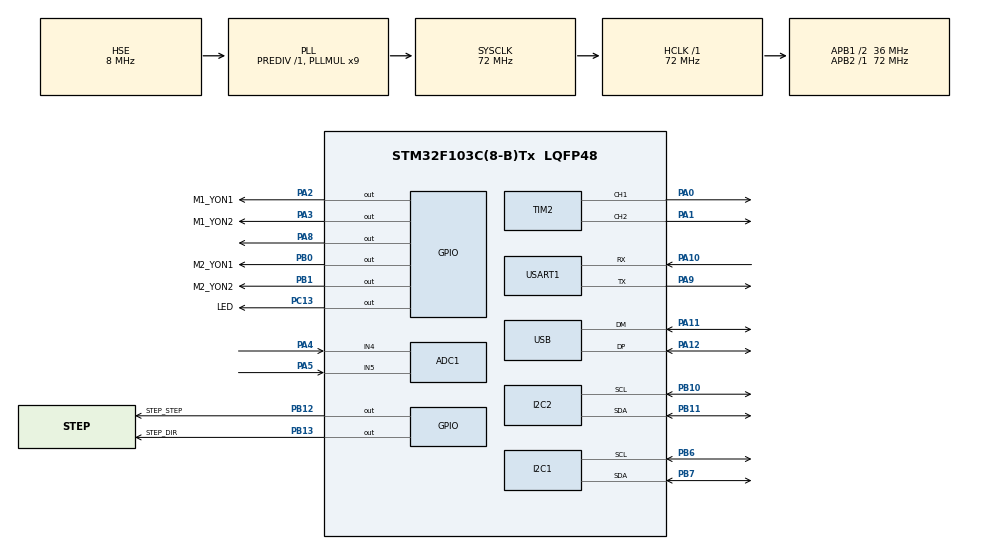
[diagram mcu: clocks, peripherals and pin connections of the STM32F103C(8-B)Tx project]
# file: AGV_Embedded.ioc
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ADC1.Channel-5\#ChannelRegularConversion=ADC_CHANNEL_4
ADC1.NbrOfConversionFlag=1
ADC1.Rank-5\#ChannelRegularConversion=1
ADC1.SamplingTime-5\#ChannelRegularConversion=ADC_SAMPLETIME_1CYCLE_5
ADC1.master=1
Mcu.Family=STM32F1
Mcu.Name=STM32F103C(8-B)Tx
Mcu.Package=LQFP48
NVIC.PriorityGroup=NVIC_PRIORITYGROUP_4
NVIC.USB_LP_CAN1_RX0_IRQn=true\:0\:0\:false\:false\:true\:false\:true\:true
PA0-WKUP.Signal=S_TIM2_CH1_ETR
PA1.Signal=S_TIM2_CH2
PA10.Mode=Asynchronous
PA10.Signal=USART1_RX
PA11.Mode=Device
PA11.Signal=USB_DM
PA12.Mode=Device
PA12.Signal=USB_DP
PA13.Mode=Serial_Wire
PA13.Signal=SYS_JTMS-SWDIO
PA14.Mode=Serial_Wire
PA14.Signal=SYS_JTCK-SWCLK
PA2.GPIO_Label=M1_YON1
PA2.Signal=GPIO_Output
PA3.GPIO_Label=M1_YON2
PA3.Signal=GPIO_Output
PA4.Signal=ADCx_IN4
PA5.Signal=ADCx_IN5
PA8.Signal=GPIO_Output
PA9.Mode=Asynchronous
PA9.Signal=USART1_TX
PB0.GPIO_Label=M2_YON1
PB0.Signal=GPIO_Output
PB1.GPIO_Label=M2_YON2
PB1.Signal=GPIO_Output
PB10.Mode=I2C
PB10.Signal=I2C2_SCL
PB11.Mode=I2C
PB11.Signal=I2C2_SDA
PB12.GPIO_Label=STEP_STEP
PB12.Signal=GPIO_Output
PB13.GPIO_Label=STEP_DIR
PB13.Signal=GPIO_Output
PB6.Mode=I2C
PB6.Signal=I2C1_SCL
PB7.Mode=I2C
PB7.Signal=I2C1_SDA
PC13-TAMPER-RTC.GPIO_Label=LED
PC13-TAMPER-RTC.Signal=GPIO_Output
PD0-OSC_IN.Mode=HSE-External-Oscillator
PD0-OSC_IN.Signal=RCC_OSC_IN
PD1-OSC_OUT.Mode=HSE-External-Oscillator
PD1-OSC_OUT.Signal=RCC_OSC_OUT
ProjectManager.HeapSize=0x200
ProjectManager.StackSize=0x400
ProjectManager.TargetToolchain=STM32CubeIDE
RCC.ADCPresc=RCC_ADCPCLK2_DIV6
RCC.AHBFreq_Value=72000000
RCC.APB1CLKDivider=RCC_HCLK_DIV2
RCC.APB1Freq_Value=36000000
RCC.APB1TimFreq_Value=72000000
RCC.APB2Freq_Value=72000000
RCC.APB2TimFreq_Value=72000000
RCC.HCLKFreq_Value=72000000
RCC.PLLMUL=RCC_PLL_MUL9
RCC.PLLSourceVirtual=RCC_PLLSOURCE_HSE
RCC.SYSCLKFreq_VALUE=72000000
RCC.SYSCLKSource=RCC_SYSCLKSOURCE_PLLCLK
RCC.USBFreq_Value=48000000
RCC.USBPrescaler=RCC_USBCLKSOURCE_PLL_DIV1_5
SH.ADCx_IN4.0=ADC1_IN4,IN4
SH.ADCx_IN5.0=ADC1_IN5,IN5
SH.S_TIM2_CH1_ETR.0=TIM2_CH1,PWM Generation1 CH1
SH.S_TIM2_CH2.0=TIM2_CH2,PWM Generation2 CH2
TIM2.Channel-PWM\ Generation1\ CH1=TIM_CHANNEL_1
TIM2.Channel-PWM\ Generation2\ CH2=TIM_CHANNEL_2
USART1.VirtualMode=VM_ASYNC
USB_DEVICE.CLASS_NAME_FS=CDC
USB_DEVICE.VirtualMode=Cdc
USB_DEVICE.VirtualModeFS=Cdc_FS
VP_TIM2_VS_ClockSourceINT.Mode=Internal
VP_USB_DEVICE_VS_USB_DEVICE_CDC_FS.Mode=CDC_FS
board=custom

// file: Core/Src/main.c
/* USER CODE BEGIN Header */
/**
  ******************************************************************************
  * @file           : main.c
  * @brief          : Main program body
  ******************************************************************************
  * @attention
  *
  * Copyright (c) 2026 STMicroelectronics.
  * All rights reserved.
  *
  * This software is licensed under terms that can be found in the LICENSE file
  * in the root directory of this software component.
  * If no LICENSE file comes with this software, it is provided AS-IS.
  *
  ******************************************************************************
  */
/* USER CODE END Header */
#include "main.h"
#include "adc.h"
#include "i2c.h"
#include "tim.h"
#include "usart.h"
#include "usb_device.h"
#include "gpio.h"

/* USER CODE BEGIN Includes */
/* Private includes ----------------------------------------------------------*/
/* USER CODE BEGIN Includes */
#include <stdio.h>
#include <string.h>
#include "agv_motor.h"
#include "agv_sensor.h"
#include "agv_telemetry.h"
/* USER CODE END Includes */

void SystemClock_Config(void);
/* USER CODE BEGIN PFP */
void RGB_Sensor_Init(void);
void RGB_Sensor_Read(uint16_t *r, uint16_t *g, uint16_t *b, uint16_t *c);
/* USER CODE END PFP */

/* USER CODE BEGIN 0 */
#include "usbd_cdc_if.h"

// USB CDC buffer'larını kullan (usbd_cdc_if.c'den)
extern uint8_t UserRxBufferFS[APP_RX_DATA_SIZE];
extern uint8_t UserTxBufferFS[APP_TX_DATA_SIZE];

uint32_t last_blink_time = 0;
uint32_t last_telemetry_time = 0;
/* USER CODE END 0 */

/* USER CODE END 0 */

int main(void)
{

  /* MCU Configuration--------------------------------------------------------*/

  /* Reset of all peripherals, Initializes the Flash interface and the Systick. */
  HAL_Init();

  /* Configure the system clock */
  SystemClock_Config();

  /* Initialize all configured peripherals */
  MX_GPIO_Init();
  MX_I2C1_Init();
  MX_TIM2_Init();
  MX_USART1_UART_Init();
  MX_ADC1_Init();
  MX_I2C2_Init();
  MX_USB_DEVICE_Init();
  /* USER CODE BEGIN 2 */
  agv_packet.header[0] = 0xAA;
  agv_packet.header[1] = 0x55;
  agv_packet.msg_id = 0x02;
  HAL_TIM_PWM_Start(&htim2, TIM_CHANNEL_1);
  HAL_TIM_PWM_Start(&htim2, TIM_CHANNEL_2);

  RGB_Sensor_Init();
  HAL_Delay(200);

  /* USER CODE END 2 */

  /* Infinite loop */
  /* USER CODE BEGIN WHILE */
  while (1)
  {
      // --- 1. RUN LED (PC13) ---
      if (HAL_GetTick() - last_blink_time >= 500) {
          HAL_GPIO_TogglePin(GPIOC, GPIO_PIN_13);
          last_blink_time = HAL_GetTick();
      }

      // --- 2. USB CDC KOMUT DİNLEYİCİSİ ---
      // UserRxBufferFS'deki komutları kontrol et

      // Heartbeat Sorgusu (FF 01)
      if (UserRxBufferFS[0] == 0xFF && UserRxBufferFS[1] == 0x01) {
          uint8_t hb_response[4] = {0xAA, 0x55, 0x01, 0x01};
          CDC_Transmit_FS(hb_response, 4);
          memset(UserRxBufferFS, 0, 2);  // Buffer'ı temizle
      }
      // Motor Komutları Paketi (AA 55)
      else if (UserRxBufferFS[0] == 0xAA && UserRxBufferFS[1] == 0x55) {
          // Yükü oku: [AA 55 ID L_Byte H_Byte Checksum]
          uint8_t msg_id = UserRxBufferFS[2];
          int16_t value = (UserRxBufferFS[4] << 8) | UserRxBufferFS[3];

          if (msg_id == 0x03) {  // DC Motor Hız
              agv_packet.dc_speed = value;
              if(value > 0) AGV_Forward(value);
              else if(value < 0) AGV_Backward(-value);
              else AGV_Stop();
          }
          else if (msg_id == 0x05) {  // DC Motor Tank Dönüşü
              if(value > 0) AGV_TurnRight(value);
              else if(value < 0) AGV_TurnLeft(-value);
              else AGV_Stop();
          }
          else if (msg_id == 0x04) {  // Step Motor
              StepMotor_Drive(value);
          }

          memset(UserRxBufferFS, 0, 6);  // Buffer'ı temizle
      }

      // --- 3. SENSÖR OKUMALARI ---

      // A. ADC Okumaları (Çizgi İzleyen Sensörler)
      ADC_ChannelConfTypeDef sConfig = {0};

      // IR Sol
      sConfig.Channel = ADC_CHANNEL_4;
      sConfig.Rank = 1;
      sConfig.SamplingTime = ADC_SAMPLETIME_13CYCLES_5;
      HAL_ADC_ConfigChannel(&hadc1, &sConfig);
      HAL_ADC_Start(&hadc1);
      if(HAL_ADC_PollForConversion(&hadc1, 10) == HAL_OK) agv_packet.ir_left = HAL_ADC_GetValue(&hadc1);
      HAL_ADC_Stop(&hadc1);

      // IR Sağ
      sConfig.Channel = ADC_CHANNEL_5;
      sConfig.Rank = 1;
      sConfig.SamplingTime = ADC_SAMPLETIME_13CYCLES_5;
      HAL_ADC_ConfigChannel(&hadc1, &sConfig);
      HAL_ADC_Start(&hadc1);
      if(HAL_ADC_PollForConversion(&hadc1, 10) == HAL_OK) agv_packet.ir_right = HAL_ADC_GetValue(&hadc1);
      HAL_ADC_Stop(&hadc1);

      // --- B. I2C Okuma ---
      uint8_t current_status = 0;

      // RGB Sensörü (I2C1)
      if (HAL_I2C_IsDeviceReady(&hi2c1, TCS34725_ADDR, 1, 2) == HAL_OK) {
          current_status |= 0x01;
          RGB_Sensor_Read(&agv_packet.color_r, &agv_packet.color_g, &agv_packet.color_b, &agv_packet.color_c);
      } else {
          agv_packet.color_r = 0; agv_packet.color_g = 0; agv_packet.color_b = 0; agv_packet.color_c = 0;
          RGB_Sensor_Init();
      }

      // Manyetik Açı Sensörü (I2C2)
      if (HAL_I2C_IsDeviceReady(&hi2c2, AS5600_ADDR, 1, 2) == HAL_OK) {
          current_status |= 0x02;
          AS5600_Read_Angle(&agv_packet.mag_angle);
      } else {
          agv_packet.mag_angle = -1.0f;
      }

      agv_packet.i2c_status = current_status;

      // --- 4. TELEMETRİ GÖNDERİMİ (USB CDC üzerinden) ---
      if (HAL_GetTick() - last_telemetry_time >= 100) {
          Send_Telemetry_Binary();
          last_telemetry_time = HAL_GetTick();
      }
  }
  /* USER CODE END WHILE */

}

void SystemClock_Config(void)
{
  RCC_OscInitTypeDef RCC_OscInitStruct = {0};
  RCC_ClkInitTypeDef RCC_ClkInitStruct = {0};
  RCC_PeriphCLKInitTypeDef PeriphClkInit = {0};

  /** Initializes the RCC Oscillators according to the specified parameters
  * in the RCC_OscInitTypeDef structure.
  */
  RCC_OscInitStruct.OscillatorType = RCC_OSCILLATORTYPE_HSE;
  RCC_OscInitStruct.HSEState = RCC_HSE_ON;
  RCC_OscInitStruct.HSEPredivValue = RCC_HSE_PREDIV_DIV1;
  RCC_OscInitStruct.HSIState = RCC_HSI_ON;
  RCC_OscInitStruct.PLL.PLLState = RCC_PLL_ON;
  RCC_OscInitStruct.PLL.PLLSource = RCC_PLLSOURCE_HSE;
  RCC_OscInitStruct.PLL.PLLMUL = RCC_PLL_MUL9;
  if (HAL_RCC_OscConfig(&RCC_OscInitStruct) != HAL_OK)
  {
    Error_Handler();
  }

  /** Initializes the CPU, AHB and APB buses clocks
  */
  RCC_ClkInitStruct.ClockType = RCC_CLOCKTYPE_HCLK|RCC_CLOCKTYPE_SYSCLK
                              |RCC_CLOCKTYPE_PCLK1|RCC_CLOCKTYPE_PCLK2;
  RCC_ClkInitStruct.SYSCLKSource = RCC_SYSCLKSOURCE_PLLCLK;
  RCC_ClkInitStruct.AHBCLKDivider = RCC_SYSCLK_DIV1;
  RCC_ClkInitStruct.APB1CLKDivider = RCC_HCLK_DIV2;
  RCC_ClkInitStruct.APB2CLKDivider = RCC_HCLK_DIV1;

  if (HAL_RCC_ClockConfig(&RCC_ClkInitStruct, FLASH_LATENCY_2) != HAL_OK)
  {
    Error_Handler();
  }
  PeriphClkInit.PeriphClockSelection = RCC_PERIPHCLK_ADC|RCC_PERIPHCLK_USB;
  PeriphClkInit.AdcClockSelection = RCC_ADCPCLK2_DIV6;
  PeriphClkInit.UsbClockSelection = RCC_USBCLKSOURCE_PLL_DIV1_5;
  if (HAL_RCCEx_PeriphCLKConfig(&PeriphClkInit) != HAL_OK)
  {
    Error_Handler();
  }
}

void Error_Handler(void)
{
  __disable_irq();
  while (1)
  {
  }
}
